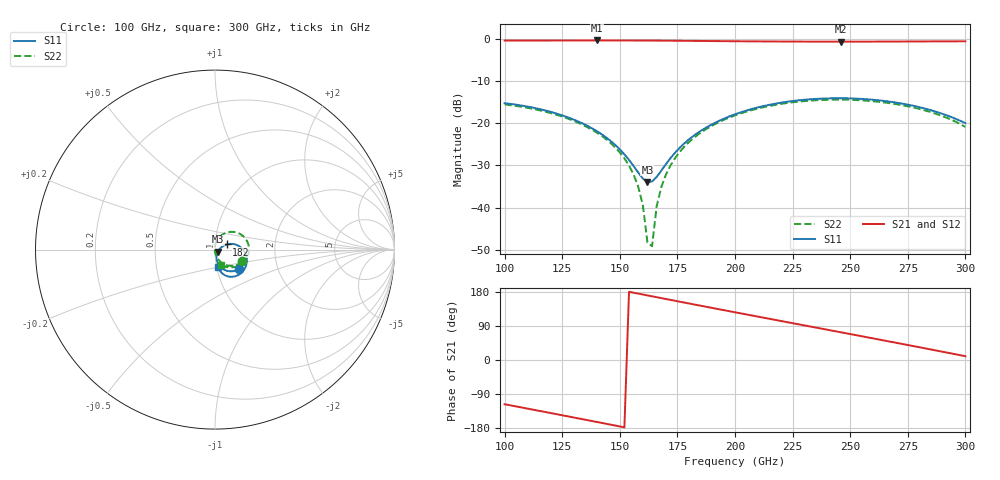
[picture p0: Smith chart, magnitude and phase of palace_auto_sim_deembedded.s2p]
! Created with skrf 1.11.0 (http://scikit-rf.org).
# GHz S DB R 50.0
!freq dBS11 angS11 dBS21 angS21 dBS12 angS12 dBS22 angS22
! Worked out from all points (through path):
!   101 points, 100 GHz to 300 GHz, reference 50 ohm
!   highest |S21| = -0.45 dB at 140 GHz (marker M1); lowest = -0.7 dB at 246 GHz (marker M2)
!   group delay of S21, straight-line fit = 3.23 ps
!   lowest |S11| = -33.9 dB at 162 GHz (marker M3), VSWR 1.04, Z = 51.7 - j1.18 ohm
!   |S11| at or under -10 dB: start of sweep to end of sweep
!   |S22| runs from -49.1 to -14.4 dB; largest |S21 - S12| = 1.1e-14
!   S11 on the Smith chart (normalised r, x): 100 GHz: 1.27, -0.29; 182 GHz: 1.14, +0.07; 300 GHz: 1.02, -0.20
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100  -15.28 -39.2  -0.48 -116.7  -0.48 -116.7  -15.57 -23.4
118  -17.04 -58.4  -0.47 -137.7  -0.47 -137.7  -17.33 -41.6
134  -20.11 -73.4  -0.45 -156.4  -0.45 -156.4  -20.42 -58.1
140  -21.88 -77.7  -0.45 -163.5  -0.45 -163.5  -22.23 -64.5
150  -26.19 -79.6  -0.45 -175.3  -0.45 -175.3  -26.92 -75.5
156  -30.15 -70.6  -0.46 177.6  -0.46 177.6  -32.16 -83.0
158  -31.68 -62.8  -0.47 175.2  -0.47 175.2  -35.02 -86.1
160  -33.08 -50.9  -0.47 172.8  -0.47 172.8  -39.34 -90.6
162  -33.92 -34.6  -0.48 170.5  -0.48 170.5  -48.23 -103.4
164  -33.77 -16.7  -0.48 168.1  -0.48 168.1  -49.08 109.6
166  -32.71 -1.5  -0.49 165.7  -0.49 165.7  -39.61 95.1
168  -31.23 9.2  -0.49 163.4  -0.49 163.4  -35.13 90.5
170  -29.70 16.0  -0.50 161.0  -0.50 161.0  -32.18 87.3
174  -26.98 22.6  -0.52 156.3  -0.52 156.3  -28.24 82.1
182  -23.00 23.8  -0.55 146.9  -0.55 146.9  -23.54 72.7
200  -17.91 10.8  -0.64 125.9  -0.64 125.9  -18.16 52.0
218  -15.34 -7.3  -0.70 105.2  -0.70 105.2  -15.62 31.4
234  -14.30 -24.2  -0.72 86.8  -0.72 86.8  -14.62 13.3
246  -14.11 -36.6  -0.73 73.1  -0.73 73.1  -14.45 -0.3
268  -14.98 -58.1  -0.71 47.7  -0.71 47.7  -15.34 -26.0
286  -17.09 -72.8  -0.67 26.6  -0.67 26.6  -17.57 -48.7
300  -19.99 -78.8  -0.65 10.0  -0.65 10.0  -20.88 -69.3
